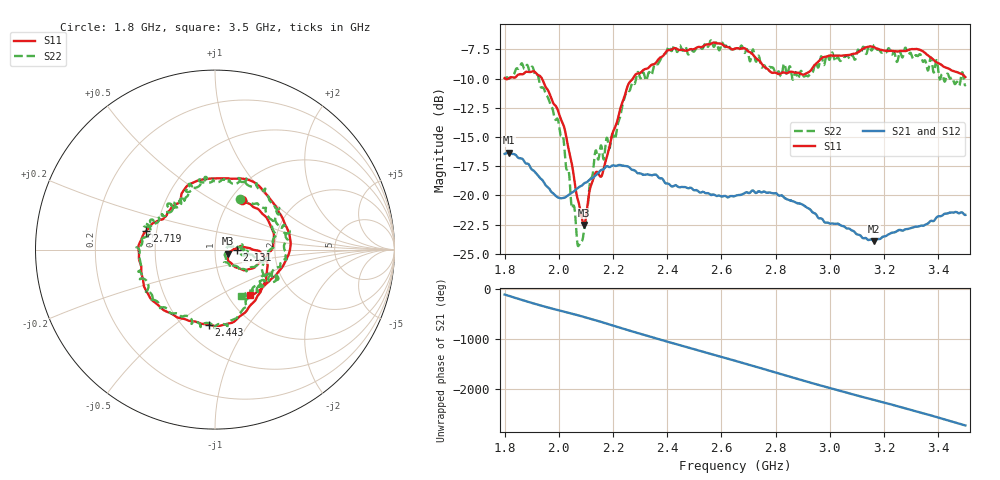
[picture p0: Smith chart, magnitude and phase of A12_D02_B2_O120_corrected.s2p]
! Created with skrf 1.9.0 (http://scikit-rf.org).
# Hz S RI R 50.0
!freq ReS11 ImS11 ReS21 ImS21 ReS12 ImS12 ReS22 ImS22
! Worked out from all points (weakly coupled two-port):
!   1601 points, 1.8 GHz to 3.5 GHz, reference 50 ohm
!   highest |S21| = -16.36 dB at 1.816 GHz (marker M1); lowest = -23.9 dB at 3.162 GHz (marker M2)
!   lowest |S11| = -22.5 dB at 2.093 GHz (marker M3), VSWR 1.16, Z = 57.6 - j2.6 ohm
!   |S11| at or under -10 dB: 1.802 GHz to 1.814 GHz (12.68 MHz wide, 0.701 % of centre); 1.938 GHz to 2.273 GHz (335.6 MHz wide, 15.9 % of centre)
!   |S22| runs from -24.4 to -6.7 dB; largest |S21 - S12| = 0.0025
!   S11 on the Smith chart (normalised r, x): 1.8 GHz: 1.13, +0.70; 2.131 GHz: 1.28, -0.00; 2.443 GHz: 0.66, -0.67; 2.719 GHz: 0.44, +0.11; 3.5 GHz: 1.26, -0.71
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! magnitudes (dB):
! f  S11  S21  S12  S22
! 1.8 GHz  -10.0  -16.4  -16.5  -10.1
! 1.816 GHz  -10.0  -16.4  -16.4  -10.0
! 1.9 GHz  -9.4  -17.8  -17.7  -9.0
! 1.953 GHz  -10.8  -19.2  -19.1  -11.4
! 2.02 GHz  -14.2  -20.2  -20.2  -15.8
! 2.07 GHz  -20.3  -19.4  -19.4  -24.3
! 2.084 GHz  -21.8  -19.2  -19.1  -23.9
! 2.093 GHz  -22.5  -19.0  -19.0  -23.0
! 2.131 GHz  -18.3  -18.4  -18.4  -16.7
! 2.161 GHz  -18.1  -17.8  -17.7  -16.4
! 2.209 GHz  -14.1  -17.5  -17.4  -15.1
! 2.259 GHz  -10.4  -17.6  -17.6  -11.1
! 2.367 GHz  -8.4  -18.4  -18.4  -8.7
! 2.443 GHz  -7.5  -19.3  -19.3  -7.3
! 2.65 GHz  -7.4  -20.1  -20.0  -7.4
! 2.719 GHz  -8.0  -19.6  -19.6  -7.7
! 2.788 GHz  -9.5  -19.8  -19.8  -9.0
! 2.934 GHz  -9.2  -21.4  -21.4  -9.5
! 3.162 GHz  -7.3  -23.9  -23.9  -7.2
! 3.217 GHz  -7.6  -23.3  -23.3  -7.4
! 3.328 GHz  -7.5  -22.7  -22.6  -8.0
! 3.5 GHz  -9.9  -21.7  -21.7  -10.5
